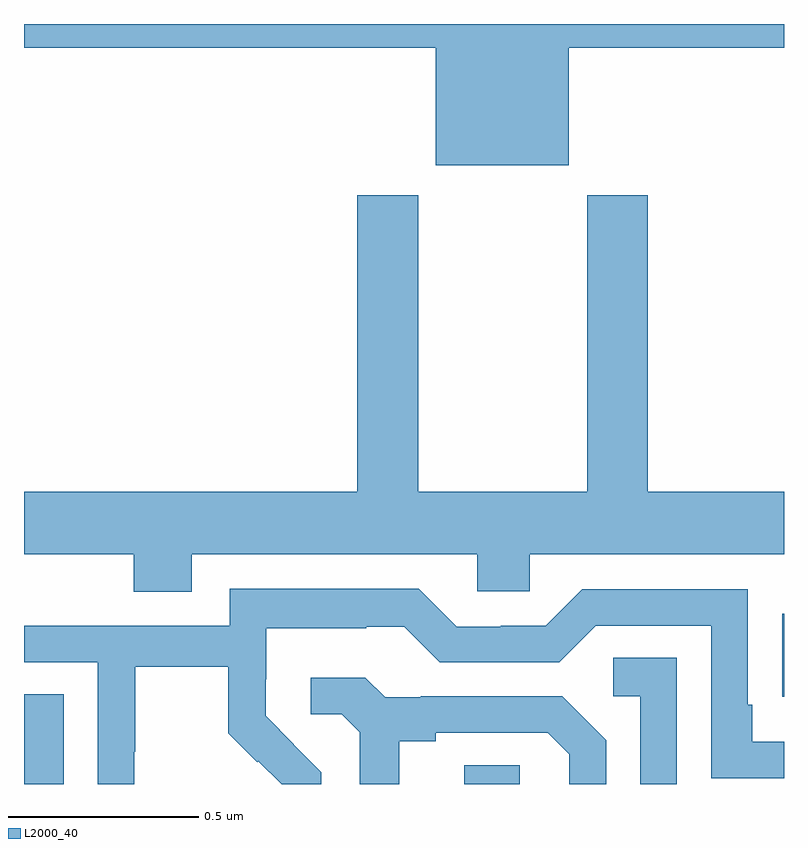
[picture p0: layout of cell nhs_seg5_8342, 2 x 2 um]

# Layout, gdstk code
import gdstk
lib = gdstk.Library(unit=1e-6, precision=1e-09)
def R(c, l, rs):  # rectangles x0, y0, x1, y1
    for r in rs: c.add(gdstk.rectangle(r[:2], r[2:], *l))
def P(c, l, *ps):  # polygons
    for p in ps: c.add(gdstk.Polygon(p, *l))
L2000_40 = (2000, 40)

nhs_seg5_8342 = lib.new_cell('nhs_seg5_8342')
R(nhs_seg5_8342, L2000_40, [(220,878.799,220.105,879.035), (221.159,878.799,221.304,878.849), (221.995,879.028,222,879.247)])
P(nhs_seg5_8342, L2000_40, [(221.434,880.736),(222,880.736),(222,880.799),(220,880.799),(220,880.736),(221.084,880.736),(221.084,880.427),(221.434,880.427)],
  [(220.441,879.404),(221.193,879.404),(221.193,879.306),(221.331,879.306),(221.331,879.404),(222,879.404),(222,879.568),(221.642,879.568),(221.642,880.348),(221.482,880.348),(221.482,879.568),(221.037,879.568),(221.037,880.348),(220.877,880.348),(220.877,879.568),(220,879.568),(220,879.404),(220.289,879.404),(220.289,879.305),(220.441,879.305)],
  [(220.29,878.884),(220.293,878.884),(220.293,879.108),(220.537,879.108),(220.537,878.933),(220.614,878.856),(220.617,878.859),(220.678,878.799),(220.782,878.799),(220.782,878.83),(220.709,878.903),(220.71,878.904),(220.636,878.978),(220.636,879.075),(220.638,879.075),(220.638,879.209),(220.901,879.209),(220.901,879.213),(221.001,879.213),(221.094,879.12),(221.409,879.12),(221.505,879.216),(221.808,879.216),(221.808,878.814),(222,878.814),(222,878.91),(221.917,878.91),(221.917,879.007),(221.904,879.007),(221.904,879.312),(221.469,879.312),(221.373,879.216),(221.255,879.216),(221.255,879.213),(221.139,879.213),(221.039,879.313),(220.542,879.313),(220.542,879.216),(220,879.216),(220,879.12),(220.194,879.12),(220.194,878.799),(220.29,878.799)],
  [(221.718,879.131),(221.55,879.131),(221.55,879.03),(221.622,879.03),(221.622,878.799),(221.718,878.799)],
  [(220.987,878.912),(221.083,878.912),(221.083,878.934),(221.378,878.934),(221.435,878.877),(221.435,878.799),(221.532,878.799),(221.532,878.914),(221.416,879.03),(221.044,879.03),(221.044,879.027),(220.95,879.027),(220.898,879.079),(220.755,879.079),(220.755,878.982),(220.836,878.982),(220.883,878.935),(220.883,878.799),(220.987,878.799)])

lib.write_gds('nhs_seg5_8342.gds')
